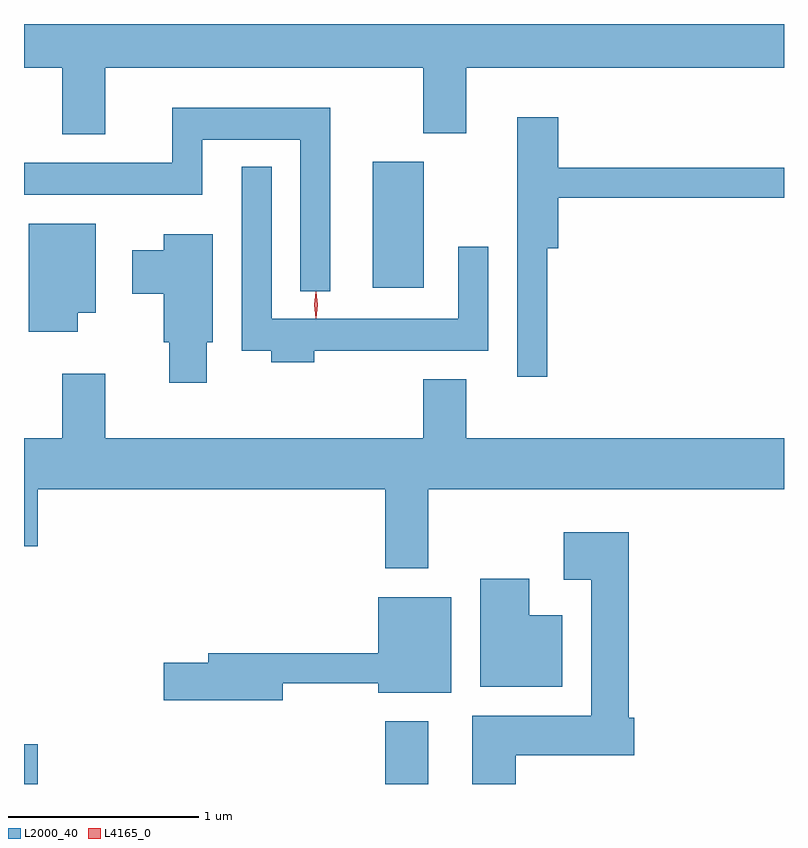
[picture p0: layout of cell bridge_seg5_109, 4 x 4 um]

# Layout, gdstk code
import gdstk
lib = gdstk.Library(unit=1e-6, precision=1e-09)
def R(c, l, rs):  # rectangles x0, y0, x1, y1
    for r in rs: c.add(gdstk.rectangle(r[:2], r[2:], *l))
def P(c, l, *ps):  # polygons
    for p in ps: c.add(gdstk.Polygon(p, *l))
L2000_40 = (2000, 40)
L4165_0 = (4165, 0)

bridge_seg5_109 = lib.new_cell('bridge_seg5_109')
R(bridge_seg5_109, L2000_40, [(1154.331,1506.305,1154.404,1506.514), (1156.231,1506.305,1156.459,1506.634), (1156.166,1508.916,1156.434,1509.579)])
P(bridge_seg5_109, L2000_40, [(1154.759,1510.076),(1156.431,1510.076),(1156.431,1509.731),(1156.659,1509.731),(1156.659,1510.076),(1158.331,1510.076),(1158.331,1510.305),(1154.331,1510.305),(1154.331,1510.076),(1154.531,1510.076),(1154.531,1509.726),(1154.759,1509.726)],
  [(1155.944,1509.864),(1155.111,1509.864),(1155.111,1509.574),(1154.331,1509.574),(1154.331,1509.406),(1155.269,1509.406),(1155.269,1509.696),(1155.786,1509.696),(1155.786,1508.898),(1155.944,1508.898)],
  [(1157.084,1509.126),(1157.144,1509.126),(1157.144,1509.391),(1158.331,1509.391),(1158.331,1509.549),(1157.144,1509.549),(1157.144,1509.814),(1156.926,1509.814),(1156.926,1508.448),(1157.084,1508.448)],
  [(1155.859,1508.586),(1156.774,1508.586),(1156.774,1509.133),(1156.616,1509.133),(1156.616,1508.754),(1155.634,1508.754),(1155.634,1509.553),(1155.476,1509.553),(1155.476,1508.586),(1155.631,1508.586),(1155.631,1508.526),(1155.859,1508.526)],
  [(1154.614,1508.786),(1154.709,1508.786),(1154.709,1509.254),(1154.356,1509.254),(1154.356,1508.686),(1154.614,1508.686)],
  [(1155.294,1508.631),(1155.324,1508.631),(1155.324,1509.199),(1155.066,1509.199),(1155.066,1509.114),(1154.901,1509.114),(1154.901,1508.886),(1155.066,1508.886),(1155.066,1508.631),(1155.096,1508.631),(1155.096,1508.416),(1155.294,1508.416)],
  [(1156.459,1507.856),(1158.331,1507.856),(1158.331,1508.124),(1156.659,1508.124),(1156.659,1508.434),(1156.431,1508.434),(1156.431,1508.124),(1154.759,1508.124),(1154.759,1508.464),(1154.531,1508.464),(1154.531,1508.124),(1154.331,1508.124),(1154.331,1507.556),(1154.404,1507.556),(1154.404,1507.856),(1156.231,1507.856),(1156.231,1507.441),(1156.459,1507.441)],
  [(1156.919,1506.456),(1157.544,1506.456),(1157.544,1506.654),(1157.514,1506.654),(1157.514,1507.629),(1157.171,1507.629),(1157.171,1507.381),(1157.316,1507.381),(1157.316,1506.664),(1156.691,1506.664),(1156.691,1506.305),(1156.919,1506.305)],
  [(1157.164,1507.194),(1156.989,1507.194),(1156.989,1507.384),(1156.731,1507.384),(1156.731,1506.816),(1157.164,1506.816)],
  [(1155.694,1506.836),(1156.196,1506.836),(1156.196,1506.786),(1156.579,1506.786),(1156.579,1507.289),(1156.196,1507.289),(1156.196,1506.994),(1155.301,1506.994),(1155.301,1506.944),(1155.066,1506.944),(1155.066,1506.746),(1155.694,1506.746)])
P(bridge_seg5_109, L4165_0, [(1155.867,1508.757),(1155.858,1508.827),(1155.867,1508.896),(1155.868,1508.896),(1155.868,1508.896),(1155.878,1508.827),(1155.868,1508.757),(1155.868,1508.757)])

lib.write_gds('bridge_seg5_109.gds')
